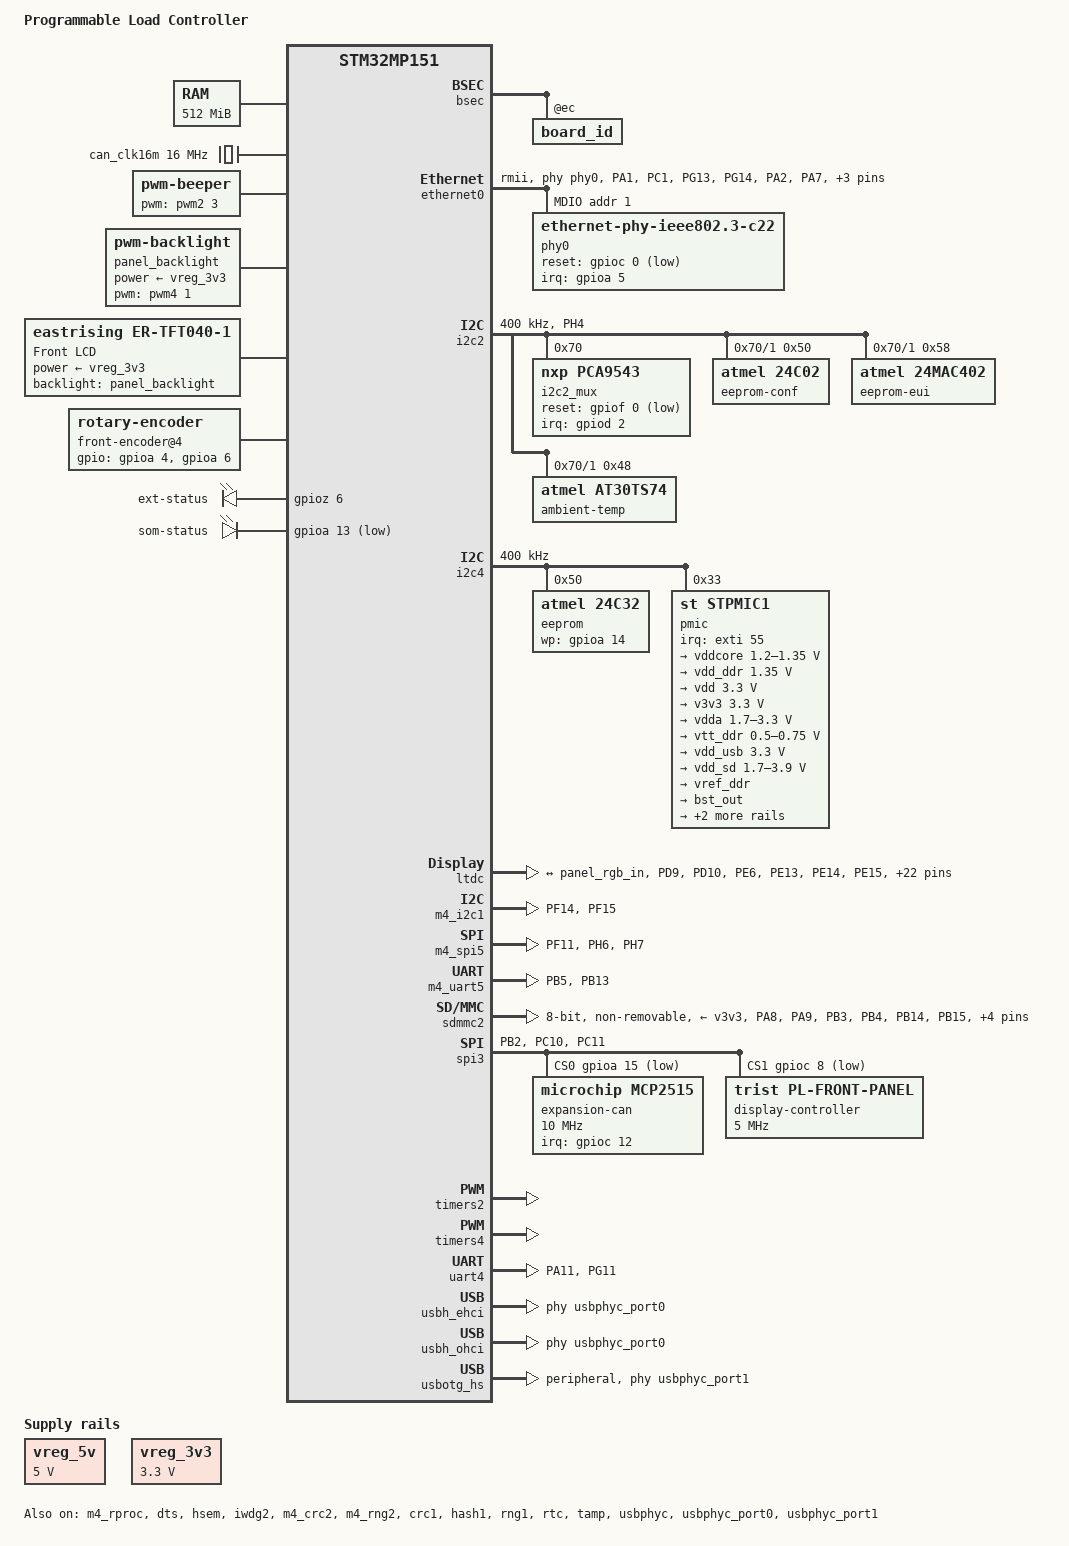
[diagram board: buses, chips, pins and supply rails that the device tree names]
/* SPDX-License-Identifier: (GPL-2.0+ OR BSD-3-Clause) */
/*
 * Copyright (C) STMicroelectronics 2022 - All Rights Reserved
 * Author: STM32CubeMX code generation for STMicroelectronics.
 */

/* For more information on Device Tree configuration, please refer to
 * https://wiki.st.com/stm32mpu/wiki/Category:Device_tree_configuration
 */

/dts-v1/;
#include <dt-bindings/pinctrl/stm32-pinfunc-2.h>

/* PLL output is enable when x=1, with x=p,q or r */
#define PQR(p, q, r)	(((p) & 1) | (((q) & 1) << 1) | (((r) & 1) << 2))


#include "stm32mp151.dtsi"
#include "stm32mp15xa.dtsi"
#include "stm32mp15xxac-pinctrl.dtsi"
#include "stm32mp15-m4-srm.dtsi"

/* USER CODE BEGIN includes */
#include <dt-bindings/mfd/st,stpmic1.h>
#include <dt-bindings/input/input.h>
#include <dt-bindings/gpio/gpio.h>
#include <dt-bindings/leds/common.h>
/* USER CODE END includes */

/ {
	model = "Programmable Load Controller";
	compatible = "st,stm32mp151a-programmable-load-myir-mx", "st,stm32mp151";

	memory@c0000000 {
		device_type = "memory";
		reg = <0xc0000000 0x20000000>;

		/* USER CODE BEGIN memory */
		/* USER CODE END memory */
	};

	reserved-memory {
		#address-cells = <1>;
		#size-cells = <1>;
		ranges;

		/* USER CODE BEGIN reserved-memory */
                /**
                 * There is a fair bit of SRAM inside the SoC, most of which is dedicated to the
                 * embedded firmware (M4 core) side. These memories are provided by the MCURAM
                 * and RETRAM peripherals as follows:
                 *
                 * |---------| Size | M4 Address | A7 Address |
                 * | MCURAM1 | 128K | 0x10000000 | 0x10000000 |
                 * | MCURAM2 | 128K | 0x10020000 | 0x10020000 |
                 * | MCURAM3 |  64K | 0x10040000 | 0x10040000 |
                 * | MCURAM4 |  64K | 0x10050000 | 0x10050000 |
                 * | RETRAM  |  64K | 0x00000000 | 0x38000000 |
                 *
                 * Most of this memory is dedicated to the embedded formware: MCURAM1/2 are used
                 * for the data segment/heap, MCURAM3 contains IPC buffers. RETRAM is reserved to
                 * hold the vector table and actual .text segment of the firmware.
                 *
                 * For the A7/Linux side, MCURAM4 is used for DMA chaining buffers.
                 */
                // these refer to the same memory region, just at two different addresses
                mcuram: mcuram@30000000 {
                    compatible = "shared-dma-pool";
                    reg = <0x30000000 0x40000>;
                    no-map;
                };
                mcuram2: mcuram2@10000000 {
                    compatible = "shared-dma-pool";
                    reg = <0x10000000 0x40000>;
                    no-map;
                };

                // define vdev0 memory (in MCURAM3) for IPC
                vdev0vring0: vdev0vring0@10040000 {
                    compatible = "shared-dma-pool";
                    reg = <0x10040000 0x1000>;
                    no-map;
                };

                vdev0vring1: vdev0vring1@10041000 {
                    compatible = "shared-dma-pool";
                    reg = <0x10041000 0x1000>;
                    no-map;
                };

                vdev0buffer: vdev0buffer@10042000 {
                    compatible = "shared-dma-pool";
                    reg = <0x10042000 0x8000>;
                    no-map;
                };

                // RETRAM - 64K, used for firmware code
                retram: retram@38000000 {
                    compatible = "shared-dma-pool";
                    reg = <0x38000000 0x10000>;
                    no-map;
                };
		/* USER CODE END reserved-memory */
	};

	/* USER CODE BEGIN root */
        // taken from MYiR SoM device tree (stm32mp15xx-ya15xc-t.dtsi)
        usb_phy_tuning: usb-phy-tuning {
            st,hs-dc-level = <2>;
            st,fs-rftime-tuning;
            st,hs-rftime-reduction;
            st,hs-current-trim = <15>;
            st,hs-impedance-trim = <1>;
            st,squelch-level = <3>;
            st,hs-rx-offset = <2>;
            st,no-lsfs-sc;
        };

        /* fixed 5V rail */
        vreg_5v: vreg-5v {/*: fixedregulator@0 { */
            compatible = "regulator-fixed";
            status = "okay";
            regulator-name ="fixed-5v";
            regulator-min-microvolt = <5000000>;
            regulator-max-microvolt = <5000000>;
            regulator-boot-on;
            regulator-always-on;
        };

        /* fixed 3V3 rail (switched on SoM rail) */
        vreg_3v3: vreg-3v3 {/*: fixedregulator@1 { */
            compatible = "regulator-fixed";
            status = "okay";
            regulator-name ="fixed-3v3";
            regulator-min-microvolt = <3300000>;
            regulator-max-microvolt = <3300000>;
            regulator-boot-on;
        };

        /* 16MHz crystal dedicated for CAN controller */
        can_clk16m: can-clk16m {
            compatible = "fixed-clock";
            status = "okay";
            #clock-cells = <0>;
            clock-frequency = <16000000>;
        };
	/* USER CODE END root */

	clocks {
		/* USER CODE BEGIN clocks */
		/* USER CODE END clocks */

#ifndef CONFIG_TFABOOT
		clk_lsi: clk-lsi {
			clock-frequency = <32000>;
		};
		clk_hsi: clk-hsi {
			clock-frequency = <64000000>;
		};
		clk_csi: clk-csi {
			clock-frequency = <4000000>;
		};
		clk_lse: clk-lse {
			clock-frequency = <32768>;
		};
		clk_hse: clk-hse {
			clock-frequency = <24000000>;
			st,css;
		};
#endif	/*CONFIG_TFABOOT*/
	};

}; /*root*/

&pinctrl {
	u-boot,dm-pre-reloc;

	eth1_pins_mx: eth1_mx-0 {
		pins1 {
			pinmux = <STM32_PINMUX('A', 1, AF0)>, /* ETH1_CLK */
					 <STM32_PINMUX('C', 1, AF11)>, /* ETH1_MDC */
					 <STM32_PINMUX('G', 13, AF11)>, /* ETH1_TXD0 */
					 <STM32_PINMUX('G', 14, AF11)>; /* ETH1_TXD1 */
			bias-disable;
			drive-push-pull;
			slew-rate = <1>;
		};
		pins2 {
			pinmux = <STM32_PINMUX('A', 2, AF11)>; /* ETH1_MDIO */
			bias-disable;
			drive-push-pull;
			slew-rate = <0>;
		};
		pins3 {
			pinmux = <STM32_PINMUX('A', 7, AF11)>, /* ETH1_CRS_DV */
					 <STM32_PINMUX('C', 4, AF11)>, /* ETH1_RXD0 */
					 <STM32_PINMUX('C', 5, AF11)>; /* ETH1_RXD1 */
			bias-disable;
		};
		pins4 {
			pinmux = <STM32_PINMUX('B', 11, AF11)>; /* ETH1_TX_EN */
		};
	};

	eth1_sleep_pins_mx: eth1_sleep_mx-0 {
		pins {
			pinmux = <STM32_PINMUX('A', 1, ANALOG)>, /* ETH1_CLK */
					 <STM32_PINMUX('A', 2, ANALOG)>, /* ETH1_MDIO */
					 <STM32_PINMUX('A', 7, ANALOG)>, /* ETH1_CRS_DV */
					 <STM32_PINMUX('B', 11, ANALOG)>, /* ETH1_TX_EN */
					 <STM32_PINMUX('C', 1, ANALOG)>, /* ETH1_MDC */
					 <STM32_PINMUX('C', 4, ANALOG)>, /* ETH1_RXD0 */
					 <STM32_PINMUX('C', 5, ANALOG)>, /* ETH1_RXD1 */
					 <STM32_PINMUX('G', 13, ANALOG)>, /* ETH1_TXD0 */
					 <STM32_PINMUX('G', 14, ANALOG)>; /* ETH1_TXD1 */
		};
	};

	i2c2_pins_mx: i2c2_mx-0 {
		pins {
			pinmux = <STM32_PINMUX('H', 4, AF4)>; /* I2C2_SCL */
			bias-disable;
			drive-open-drain;
			slew-rate = <0>;
		};
	};

	i2c2_sleep_pins_mx: i2c2_sleep_mx-0 {
		pins {
			pinmux = <STM32_PINMUX('H', 4, ANALOG)>; /* I2C2_SCL */
		};
	};

	ltdc_pins_mx: ltdc_mx-0 {
		pins1 {
			pinmux = <STM32_PINMUX('D', 9, AF14)>, /* LTDC_B0 */
					 <STM32_PINMUX('D', 10, AF14)>, /* LTDC_B3 */
					 <STM32_PINMUX('E', 6, AF14)>, /* LTDC_G1 */
					 <STM32_PINMUX('E', 13, AF14)>, /* LTDC_DE */
					 <STM32_PINMUX('E', 14, AF13)>, /* LTDC_G0 */
					 <STM32_PINMUX('E', 15, AF14)>, /* LTDC_R7 */
					 <STM32_PINMUX('G', 10, AF14)>, /* LTDC_B2 */
					 <STM32_PINMUX('G', 12, AF14)>, /* LTDC_B1 */
					 <STM32_PINMUX('H', 2, AF14)>, /* LTDC_R0 */
					 <STM32_PINMUX('H', 3, AF14)>, /* LTDC_R1 */
					 <STM32_PINMUX('H', 8, AF14)>, /* LTDC_R2 */
					 <STM32_PINMUX('H', 9, AF14)>, /* LTDC_R3 */
					 <STM32_PINMUX('H', 10, AF14)>, /* LTDC_R4 */
					 <STM32_PINMUX('H', 11, AF14)>, /* LTDC_R5 */
					 <STM32_PINMUX('H', 12, AF14)>, /* LTDC_R6 */
					 <STM32_PINMUX('H', 13, AF14)>, /* LTDC_G2 */
					 <STM32_PINMUX('H', 14, AF14)>, /* LTDC_G3 */
					 <STM32_PINMUX('H', 15, AF14)>, /* LTDC_G4 */
					 <STM32_PINMUX('I', 0, AF14)>, /* LTDC_G5 */
					 <STM32_PINMUX('I', 1, AF14)>, /* LTDC_G6 */
					 <STM32_PINMUX('I', 2, AF14)>, /* LTDC_G7 */
					 <STM32_PINMUX('I', 4, AF14)>, /* LTDC_B4 */
					 <STM32_PINMUX('I', 5, AF14)>, /* LTDC_B5 */
					 <STM32_PINMUX('I', 6, AF14)>, /* LTDC_B6 */
					 <STM32_PINMUX('I', 7, AF14)>, /* LTDC_B7 */
					 <STM32_PINMUX('I', 9, AF14)>, /* LTDC_VSYNC */
					 <STM32_PINMUX('I', 10, AF14)>; /* LTDC_HSYNC */
			bias-disable;
			drive-push-pull;
			slew-rate = <0>;
		};
		pins2 {
			pinmux = <STM32_PINMUX('G', 7, AF14)>; /* LTDC_CLK */
			bias-disable;
			drive-push-pull;
			slew-rate = <1>;
		};
	};

	ltdc_sleep_pins_mx: ltdc_sleep_mx-0 {
		pins {
			pinmux = <STM32_PINMUX('D', 9, ANALOG)>, /* LTDC_B0 */
					 <STM32_PINMUX('D', 10, ANALOG)>, /* LTDC_B3 */
					 <STM32_PINMUX('E', 6, ANALOG)>, /* LTDC_G1 */
					 <STM32_PINMUX('E', 13, ANALOG)>, /* LTDC_DE */
					 <STM32_PINMUX('E', 14, ANALOG)>, /* LTDC_G0 */
					 <STM32_PINMUX('E', 15, ANALOG)>, /* LTDC_R7 */
					 <STM32_PINMUX('G', 7, ANALOG)>, /* LTDC_CLK */
					 <STM32_PINMUX('G', 10, ANALOG)>, /* LTDC_B2 */
					 <STM32_PINMUX('G', 12, ANALOG)>, /* LTDC_B1 */
					 <STM32_PINMUX('H', 2, ANALOG)>, /* LTDC_R0 */
					 <STM32_PINMUX('H', 3, ANALOG)>, /* LTDC_R1 */
					 <STM32_PINMUX('H', 8, ANALOG)>, /* LTDC_R2 */
					 <STM32_PINMUX('H', 9, ANALOG)>, /* LTDC_R3 */
					 <STM32_PINMUX('H', 10, ANALOG)>, /* LTDC_R4 */
					 <STM32_PINMUX('H', 11, ANALOG)>, /* LTDC_R5 */
					 <STM32_PINMUX('H', 12, ANALOG)>, /* LTDC_R6 */
					 <STM32_PINMUX('H', 13, ANALOG)>, /* LTDC_G2 */
					 <STM32_PINMUX('H', 14, ANALOG)>, /* LTDC_G3 */
					 <STM32_PINMUX('H', 15, ANALOG)>, /* LTDC_G4 */
					 <STM32_PINMUX('I', 0, ANALOG)>, /* LTDC_G5 */
					 <STM32_PINMUX('I', 1, ANALOG)>, /* LTDC_G6 */
					 <STM32_PINMUX('I', 2, ANALOG)>, /* LTDC_G7 */
					 <STM32_PINMUX('I', 4, ANALOG)>, /* LTDC_B4 */
					 <STM32_PINMUX('I', 5, ANALOG)>, /* LTDC_B5 */
					 <STM32_PINMUX('I', 6, ANALOG)>, /* LTDC_B6 */
					 <STM32_PINMUX('I', 7, ANALOG)>, /* LTDC_B7 */
					 <STM32_PINMUX('I', 9, ANALOG)>, /* LTDC_VSYNC */
					 <STM32_PINMUX('I', 10, ANALOG)>; /* LTDC_HSYNC */
		};
	};

	m4_i2c1_pins_mx: m4_i2c1_mx-0 {
		pins {
			pinmux = <STM32_PINMUX('F', 14, RSVD)>, /* I2C1_SCL */
					 <STM32_PINMUX('F', 15, RSVD)>; /* I2C1_SDA */
		};
	};

	m4_spi5_pins_mx: m4_spi5_mx-0 {
		pins {
			pinmux = <STM32_PINMUX('F', 11, RSVD)>, /* SPI5_MOSI */
					 <STM32_PINMUX('H', 6, RSVD)>, /* SPI5_SCK */
					 <STM32_PINMUX('H', 7, RSVD)>; /* SPI5_MISO */
		};
	};

	m4_uart5_pins_mx: m4_uart5_mx-0 {
		pins {
			pinmux = <STM32_PINMUX('B', 5, RSVD)>, /* UART5_RX */
					 <STM32_PINMUX('B', 13, RSVD)>; /* UART5_TX */
		};
	};

	sdmmc2_pins_mx: sdmmc2_mx-0 {
		u-boot,dm-pre-reloc;
		pins1 {
			u-boot,dm-pre-reloc;
			pinmux = <STM32_PINMUX('A', 8, AF9)>, /* SDMMC2_D4 */
					 <STM32_PINMUX('A', 9, AF10)>, /* SDMMC2_D5 */
					 <STM32_PINMUX('B', 3, AF9)>, /* SDMMC2_D2 */
					 <STM32_PINMUX('B', 4, AF9)>, /* SDMMC2_D3 */
					 <STM32_PINMUX('B', 14, AF9)>, /* SDMMC2_D0 */
					 <STM32_PINMUX('B', 15, AF9)>, /* SDMMC2_D1 */
					 <STM32_PINMUX('D', 3, AF9)>, /* SDMMC2_D7 */
					 <STM32_PINMUX('E', 5, AF9)>, /* SDMMC2_D6 */
					 <STM32_PINMUX('G', 6, AF10)>; /* SDMMC2_CMD */
			//bias-disable;
                        bias-pull-up;
			drive-push-pull;
			slew-rate = <1>;
		};
		pins2 {
			u-boot,dm-pre-reloc;
			pinmux = <STM32_PINMUX('E', 3, AF9)>; /* SDMMC2_CK */
			// bias-disable;
                        bias-pull-up;
			drive-push-pull;
			slew-rate = <3>;
		};
	};

	sdmmc2_opendrain_pins_mx: sdmmc2_opendrain_mx-0 {
		u-boot,dm-pre-reloc;
		pins1 {
			u-boot,dm-pre-reloc;
			pinmux = <STM32_PINMUX('A', 8, AF9)>, /* SDMMC2_D4 */
					 <STM32_PINMUX('A', 9, AF10)>, /* SDMMC2_D5 */
					 <STM32_PINMUX('B', 3, AF9)>, /* SDMMC2_D2 */
					 <STM32_PINMUX('B', 4, AF9)>, /* SDMMC2_D3 */
					 <STM32_PINMUX('B', 14, AF9)>, /* SDMMC2_D0 */
					 <STM32_PINMUX('B', 15, AF9)>, /* SDMMC2_D1 */
					 <STM32_PINMUX('D', 3, AF9)>, /* SDMMC2_D7 */
					 <STM32_PINMUX('E', 5, AF9)>; /* SDMMC2_D6 */
			//bias-disable;
                        bias-pull-up;
			drive-push-pull;
			slew-rate = <1>;
		};
		pins2 {
			u-boot,dm-pre-reloc;
			pinmux = <STM32_PINMUX('E', 3, AF9)>; /* SDMMC2_CK */
			//bias-disable;
                        bias-pull-up;
			drive-push-pull;
			slew-rate = <3>;
		};
		pins3 {
			u-boot,dm-pre-reloc;
			pinmux = <STM32_PINMUX('G', 6, AF10)>; /* SDMMC2_CMD */
			//bias-disable;
                        bias-pull-up;
			drive-open-drain;
			slew-rate = <1>;
		};
	};

	sdmmc2_sleep_pins_mx: sdmmc2_sleep_mx-0 {
		u-boot,dm-pre-reloc;
		pins {
			u-boot,dm-pre-reloc;
			pinmux = <STM32_PINMUX('A', 8, ANALOG)>, /* SDMMC2_D4 */
					 <STM32_PINMUX('A', 9, ANALOG)>, /* SDMMC2_D5 */
					 <STM32_PINMUX('B', 3, ANALOG)>, /* SDMMC2_D2 */
					 <STM32_PINMUX('B', 4, ANALOG)>, /* SDMMC2_D3 */
					 <STM32_PINMUX('B', 14, ANALOG)>, /* SDMMC2_D0 */
					 <STM32_PINMUX('B', 15, ANALOG)>, /* SDMMC2_D1 */
					 <STM32_PINMUX('D', 3, ANALOG)>, /* SDMMC2_D7 */
					 <STM32_PINMUX('E', 3, ANALOG)>, /* SDMMC2_CK */
					 <STM32_PINMUX('E', 5, ANALOG)>, /* SDMMC2_D6 */
					 <STM32_PINMUX('G', 6, ANALOG)>; /* SDMMC2_CMD */
		};
	};

	spi3_pins_mx: spi3_mx-0 {
		pins {
			pinmux = <STM32_PINMUX('B', 2, AF7)>, /* SPI3_MOSI */
					 <STM32_PINMUX('C', 10, AF6)>, /* SPI3_SCK */
					 <STM32_PINMUX('C', 11, AF6)>; /* SPI3_MISO */
			bias-disable;
			drive-push-pull;
			slew-rate = <1>;
		};
	};

	spi3_sleep_pins_mx: spi3_sleep_mx-0 {
		pins {
			pinmux = <STM32_PINMUX('B', 2, ANALOG)>, /* SPI3_MOSI */
					 <STM32_PINMUX('C', 10, ANALOG)>, /* SPI3_SCK */
					 <STM32_PINMUX('C', 11, ANALOG)>; /* SPI3_MISO */
		};
	};

	tim2_pwm_pins_mx: tim2_pwm_mx-0 {
		pins {
			pinmux = <STM32_PINMUX('A', 3, AF1)>; /* TIM2_CH4 */
			bias-disable;
			drive-push-pull;
			slew-rate = <0>;
		};
	};

	tim2_pwm_sleep_pins_mx: tim2_pwm_sleep_mx-0 {
		pins {
			pinmux = <STM32_PINMUX('A', 3, ANALOG)>; /* TIM2_CH4 */
		};
	};

	tim4_pwm_pins_mx: tim4_pwm_mx-0 {
		pins {
			pinmux = <STM32_PINMUX('B', 7, AF2)>; /* TIM4_CH2 */
			bias-disable;
			drive-push-pull;
			slew-rate = <0>;
		};
	};

	tim4_pwm_sleep_pins_mx: tim4_pwm_sleep_mx-0 {
		pins {
			pinmux = <STM32_PINMUX('B', 7, ANALOG)>; /* TIM4_CH2 */
		};
	};

	uart4_pins_mx: uart4_mx-0 {
		u-boot,dm-pre-reloc;
		pins1 {
			u-boot,dm-pre-reloc;
			pinmux = <STM32_PINMUX('A', 11, AF6)>; /* UART4_RX */
			bias-disable;
		};
		pins2 {
			u-boot,dm-pre-reloc;
			pinmux = <STM32_PINMUX('G', 11, AF6)>; /* UART4_TX */
			bias-disable;
			drive-push-pull;
			slew-rate = <0>;
		};
	};

	uart4_sleep_pins_mx: uart4_sleep_mx-0 {
		u-boot,dm-pre-reloc;
		pins {
			u-boot,dm-pre-reloc;
			pinmux = <STM32_PINMUX('A', 11, ANALOG)>, /* UART4_RX */
					 <STM32_PINMUX('G', 11, ANALOG)>; /* UART4_TX */
		};
	};

	/* USER CODE BEGIN pinctrl */

	/* USER CODE END pinctrl */
};

&pinctrl_z {
	u-boot,dm-pre-reloc;

	i2c2_pins_z_mx: i2c2_mx-0 {
		pins {
			pinmux = <STM32_PINMUX('Z', 7, AF3)>; /* I2C2_SDA */
			bias-disable;
			drive-open-drain;
			slew-rate = <0>;
		};
	};

	i2c2_sleep_pins_z_mx: i2c2_sleep_mx-0 {
		pins {
			pinmux = <STM32_PINMUX('Z', 7, ANALOG)>; /* I2C2_SDA */
		};
	};

	i2c4_pins_z_mx: i2c4_mx-0 {
		pins {
			pinmux = <STM32_PINMUX('Z', 4, AF6)>, /* I2C4_SCL */
					 <STM32_PINMUX('Z', 5, AF6)>; /* I2C4_SDA */
			bias-disable;
			drive-open-drain;
			slew-rate = <0>;
		};
	};

	i2c4_sleep_pins_z_mx: i2c4_sleep_mx-0 {
		pins {
			pinmux = <STM32_PINMUX('Z', 4, ANALOG)>, /* I2C4_SCL */
					 <STM32_PINMUX('Z', 5, ANALOG)>; /* I2C4_SDA */
		};
	};

	/* USER CODE BEGIN pinctrl_z */

	/* USER CODE END pinctrl_z */
};

&m4_rproc{
	status = "okay";

	/* USER CODE BEGIN m4_rproc */
        // required memory regions: SRAMs for storing code/data; vdev buffers for IPC
        memory-region = <&retram>, <&mcuram>, <&mcuram2>, <&vdev0vring0>,
                        <&vdev0vring1>, <&vdev0buffer>;
        // mailbox channels exposed by the chip
        mboxes = <&ipcc 0>, <&ipcc 1>, <&ipcc 2>;
        mbox-names = "vq0", "vq1", "shutdown";

        // TODO: use appropriate constants for irq config?
        interrupt-parent = <&exti>;
        interrupts = <68 1>;
        wakeup-source;
	/* USER CODE END m4_rproc */

        // XXX: this isn't used with the non-ST distribution?
	m4_system_resources{
		status = "okay";

		/* USER CODE BEGIN m4_system_resources */
		/* USER CODE END m4_system_resources */
	};
};

&bsec{
	status = "okay";

	/* USER CODE BEGIN bsec */
	/* USER CODE END bsec */
};

// temp sensor
&dts {
    status = "okay";
};

&dma1{
	status = "okay";

	/* USER CODE BEGIN dma1 */
	/* USER CODE END dma1 */
};

// DMA2 is used by the cortex M4
&dma2{
	/* USER CODE BEGIN dma2 */
	/* USER CODE END dma2 */
};

&dmamux1{
	status = "okay";

	/* USER CODE BEGIN dmamux1 */
	/* USER CODE END dmamux1 */
};

&ethernet0{
	pinctrl-names = "default", "sleep";
	pinctrl-0 = <&eth1_pins_mx>;
	pinctrl-1 = <&eth1_sleep_pins_mx>;
	status = "okay";

	/* USER CODE BEGIN ethernet0 */
	/* USER CODE END ethernet0 */
};

&hsem{
	status = "okay";

	/* USER CODE BEGIN hsem */
	/* USER CODE END hsem */
};

&ipcc{
	status = "okay";

	/* USER CODE BEGIN ipcc */
	/* USER CODE END ipcc */
};

// watchdog (during boot)
&iwdg2 {
    u-boot,dm-pre-reloc;
    timeout-sec = <32>;
    status = "okay";
};

&i2c2{
	pinctrl-names = "default", "sleep";
	pinctrl-0 = <&i2c2_pins_mx &i2c2_pins_z_mx>;
	pinctrl-1 = <&i2c2_sleep_pins_mx &i2c2_sleep_pins_z_mx>;
	status = "okay";

	/* USER CODE BEGIN i2c2 */
	/* USER CODE END i2c2 */
};

&i2c4{
	pinctrl-names = "default", "sleep";
	pinctrl-0 = <&i2c4_pins_z_mx>;
	pinctrl-1 = <&i2c4_sleep_pins_z_mx>;
	status = "okay";

	/* USER CODE BEGIN i2c4 */
        i2c-scl-rising-time-ns = <185>;
        i2c-scl-falling-time-ns = <20>;
        clock-frequency = <400000>;
        secure-status = "okay";

        /delete-property/dmas;
        /delete-property/dma-names;

        /* eeprom (on MYiR SoM) */
        eeprom@50 {
            compatible = "atmel,24c32";
            reg = <0x50>;
            pagesize = <32>;
            wp-gpios = <&gpioa 14 0>;
            num-addresses = <8>;
        };

        pmic: stpmic@33 {
            compatible = "st,stpmic1";
            reg = <0x33>;

            // TODO: figure out what the proper external interrupt configuration is here
            // interrupts-extended = <&exti_pwr 55 IRQ_TYPE_EDGE_FALLING>;
            interrupts-extended = <&exti 55 IRQ_TYPE_EDGE_FALLING>;

            interrupt-controller;
            #interrupt-cells = <2>;
            status = "okay";

            watchdog {
                compatible = "st,stpmic1-wdt";
                status = "disabled";
            };

            onkey {
                compatible = "st,stpmic1-onkey";
                status = "disabled";
            };

            regulators {
                compatible = "st,stpmic1-regulators";
                buck1-supply = <&vreg_5v>;
                buck2-supply = <&vreg_5v>;
                buck3-supply = <&vreg_5v>;
                buck4-supply = <&vreg_5v>;
                ldo1-supply = <&v3v3>;
                ldo2-supply = <&vreg_5v>;
                ldo3-supply = <&vdd_ddr>;
                ldo4-supply = <&vreg_5v>;
                ldo5-supply = <&vreg_5v>;
                ldo6-supply = <&v3v3>;
                vref_ddr-supply = <&vreg_5v>;
                boost-supply = <&vreg_5v>;
                pwr_sw1-supply = <&bst_out>;
                pwr_sw2-supply = <&bst_out>;

                vddcore: buck1 {
                    regulator-name = "vddcore"; //to cpu
                    regulator-min-microvolt = <1200000>;
                    regulator-max-microvolt = <1350000>;
                    regulator-always-on;
                    regulator-initial-mode = <0>;
                    regulator-over-current-protection;
                };

                vdd_ddr: buck2 {
                    regulator-name = "vdd_ddr";//to ddr
                    regulator-min-microvolt = <1350000>;
                    regulator-max-microvolt = <1350000>;
                    regulator-always-on;
                    regulator-initial-mode = <0>;
                    regulator-over-current-protection;
                };

                vdd: buck3 {
                    regulator-name = "vdd";//to mmc
                    regulator-min-microvolt = <3300000>;
                    regulator-max-microvolt = <3300000>;
                    regulator-always-on;
                    st,mask-reset;
                    regulator-initial-mode = <0>;
                    regulator-over-current-protection;
                };

                v3v3: buck4 {
                    regulator-name = "v3v3";//to mmc
                    regulator-min-microvolt = <3300000>;
                    regulator-max-microvolt = <3300000>;
                    regulator-always-on;
                    regulator-over-current-protection;
                    regulator-initial-mode = <0>;
                };

                vdda: ldo1 {
                    regulator-name = "vdda";//to verf
                    regulator-min-microvolt = <1700000>;
                    regulator-max-microvolt = <3300000>;
                    regulator-always-on;
                };
/*
                vldo2: ldo2 {
                    regulator-name = "vldo2";
                    regulator-min-microvolt = <1700000>;
                    regulator-max-microvolt = <3300000>;
                    regulator-always-on;
                };
*/

                vtt_ddr: ldo3 {
                    regulator-name = "vtt_ddr";
                    regulator-min-microvolt = <500000>;
                    regulator-max-microvolt = <750000>;
                    regulator-always-on;
                    regulator-over-current-protection;
                };


                vdd_usb: ldo4 {
                    regulator-name = "vdd_usb";//to usb
                    regulator-min-microvolt = <3300000>;
                    regulator-max-microvolt = <3300000>;
                    regulator-always-on;
                };



                vdd_sd: ldo5 {
                    regulator-name = "vdd_sd";
                    regulator-min-microvolt = <1700000>;
                    regulator-max-microvolt = <3900000>;
                    regulator-boot-on;
                };
/*
                vldo6: ldo6 {
                    regulator-name = "vldo6";
                    regulator-min-microvolt = <900000>;
                    regulator-max-microvolt = <3300000>;
                    regulator-always-on;
                    standby-ddr-sr {
                        regulator-off-in-suspend;
                    };
                    standby-ddr-off {
                        regulator-off-in-suspend;
                    };
                };
*/
                vref_ddr: vref_ddr {
                    regulator-name = "vref_ddr";
                    regulator-always-on;
                    regulator-over-current-protection;
                };

                bst_out: boost {
                    regulator-name = "bst_out";
                };

                vbus_otg: pwr_sw1 {
                    regulator-name = "vbus_otg";
                };

                vbus_sw: pwr_sw2 {
                    regulator-name = "vbus_sw";
                    regulator-active-discharge = <1>;
                };
            };
    };
    /* USER CODE END i2c4 */
};

&ltdc{
	pinctrl-names = "default", "sleep";
	pinctrl-0 = <&ltdc_pins_mx>;
	pinctrl-1 = <&ltdc_sleep_pins_mx>;
	status = "okay";

	/* USER CODE BEGIN ltdc */
        /* configure the RGB output port */
        port {
            #address-cells = <1>;
            #size-cells = <0>;

            /* XXX: Maybe it is ep0 and reg = 0 instead? */
            ltdc_ep0_out: endpoint@0 {
                reg = <0>;
                remote-endpoint = <&panel_rgb_in>;
            };
        };
	/* USER CODE END ltdc */
};

&m4_crc2{
	status = "okay";

	/* USER CODE BEGIN m4_crc2 */
	/* USER CODE END m4_crc2 */
};

&m4_dma2{
	status = "okay";

	/* USER CODE BEGIN m4_dma2 */
	/* USER CODE END m4_dma2 */
};

&m4_i2c1{
	pinctrl-names = "default";
	pinctrl-0 = <&m4_i2c1_pins_mx>;
	status = "okay";

	/* USER CODE BEGIN m4_i2c1 */
	/* USER CODE END m4_i2c1 */
};

&m4_rng2{
	status = "okay";

	/* USER CODE BEGIN m4_rng2 */
	/* USER CODE END m4_rng2 */
};

&m4_spi5{
	pinctrl-names = "default";
	pinctrl-0 = <&m4_spi5_pins_mx>;
	status = "okay";

	/* USER CODE BEGIN m4_spi5 */
	/* USER CODE END m4_spi5 */
};

&m4_uart5{
	pinctrl-names = "default";
	pinctrl-0 = <&m4_uart5_pins_mx>;
	status = "okay";

	/* USER CODE BEGIN m4_uart5 */
	/* USER CODE END m4_uart5 */
};

&mdma1{
	status = "okay";

	/* USER CODE BEGIN mdma1 */
	/* USER CODE END mdma1 */
};

&rcc{
	u-boot,dm-pre-reloc;
	status = "okay";

	/* USER CODE BEGIN rcc */
	pll2:st,pll@1 {
		compatible = "st,stm32mp1-pll";
		reg = <1>;
		cfg = < 2 65 1 1 0 PQR(1,1,1) >;
		frac = < 0x1400 >;
		u-boot,dm-pre-reloc;
                u-boot,dm-spl;
	};
	pll3:st,pll@2 {
		compatible = "st,stm32mp1-pll";
		reg = <2>;
		cfg = < 1 51 2 5 3 PQR(1,1,1) >;
		frac = < 0x800 >;
		u-boot,dm-pre-reloc;
                u-boot,dm-spl;
	};
	pll4:st,pll@3 {
		compatible = "st,stm32mp1-pll";
		reg = <3>;
		cfg = < 1 49 11 23 14 PQR(1,1,1) >;
		u-boot,dm-pre-reloc;
                u-boot,dm-spl;
	};

	/* USER CODE END rcc */
};

&crc1 {
	status = "okay";
};

&hash1 {
	status = "okay";
};

&rng1{
	status = "okay";

	/* USER CODE BEGIN rng1 */
	/* USER CODE END rng1 */
};

&rtc{
	status = "okay";

	/* USER CODE BEGIN rtc */
	/* USER CODE END rtc */
};

&sdmmc2{
    status = "okay";
    // pin config from stmcubemx
    pinctrl-names = "default", "opendrain", "sleep";
    pinctrl-0 = <&sdmmc2_pins_mx>;
    pinctrl-1 = <&sdmmc2_opendrain_pins_mx>;
    pinctrl-2 = <&sdmmc2_sleep_pins_mx>;

    /* USER CODE BEGIN sdmmc2 */
    /* define it as non-removable eMMC flash */
    non-removable;
    no-sd;
    no-sdio;
    /* polarity of clock and data bus width */
    st,neg-edge;
    bus-width = <8>;
    /* supplies */
    vmmc-supply = <&v3v3>;
    vqmmc-supply = <&vdd>;
    no-1-8-v;
    mmc-ddr-3_3v;
    /* USER CODE END sdmmc2 */
};

&spi3{
	pinctrl-names = "default", "sleep";
	pinctrl-0 = <&spi3_pins_mx>;
	pinctrl-1 = <&spi3_sleep_pins_mx>;
	status = "okay";

	/* USER CODE BEGIN spi3 */
	/* USER CODE END spi3 */
};

&tamp{
	status = "okay";

	/* USER CODE BEGIN tamp */
        // how we reboot is specified by a boot/tamper register
        reboot-mode {
            compatible = "syscon-reboot-mode";
            offset = <0x150>; /* reg20 */
            mask = <0xff>;
            mode-normal = <0>;
            mode-fastboot = <0x1>;
            mode-recovery = <0x2>;
            mode-stm32cubeprogrammer = <0x3>;
            mode-ums_mmc0 = <0x10>;
            mode-ums_mmc1 = <0x11>;
            mode-ums_mmc2 = <0x12>;
        };
	/* USER CODE END tamp */
};

&timers2{
	status = "okay";

	/* USER CODE BEGIN timers2 */
        /* PWM mode doesn't require DMA */
	/delete-property/dmas;
	/delete-property/dma-names;

        /* XXX: the following pwm name may not stick on regeneration (pwm2) */
	/* USER CODE END timers2 */

	pwm2: pwm{
		pinctrl-names = "default", "sleep";
		pinctrl-0 = <&tim2_pwm_pins_mx>;
		pinctrl-1 = <&tim2_pwm_sleep_pins_mx>;
		status = "okay";

		/* USER CODE BEGIN timers2_pwm */
		/* USER CODE END timers2_pwm */
	};
};

&timers4{
	status = "okay";

	/* USER CODE BEGIN timers4 */
        /* PWM mode doesn't require DMA */
	/delete-property/dmas;
	/delete-property/dma-names;

        /* XXX: the following pwm name may not stick on regeneration (pwm4) */
	/* USER CODE END timers4 */

	pwm4: pwm{
		pinctrl-names = "default", "sleep";
		pinctrl-0 = <&tim4_pwm_pins_mx>;
		pinctrl-1 = <&tim4_pwm_sleep_pins_mx>;
		status = "okay";

		/* USER CODE BEGIN timers4_pwm */
		/* USER CODE END timers4_pwm */
	};
};

&uart4{
	u-boot,dm-pre-reloc;
	pinctrl-names = "default", "sleep";
	pinctrl-0 = <&uart4_pins_mx>;
	pinctrl-1 = <&uart4_sleep_pins_mx>;
	status = "okay";

	/* USER CODE BEGIN uart4 */
	/* USER CODE END uart4 */
};

&usbh_ehci{
	status = "okay";

	/* USER CODE BEGIN usbh_ehci */
        phys = <&usbphyc_port0>;
        phy-names = "usb";
	/* USER CODE END usbh_ehci */
};

&usbh_ohci{
	status = "okay";

	// USER CODE BEGIN usbh_ohci
        phys = <&usbphyc_port0>;
        phy-names = "usb";
	// USER CODE END usbh_ohci
};

&usbotg_hs{
	u-boot,dm-pre-reloc;
	status = "okay";

	/* USER CODE BEGIN usbotg_hs */
        // set the PHY to use
        phys = <&usbphyc_port1 0>;
        phy-names = "usb2-phy";
        /* force always into device mode */
        dr_mode = "peripheral";
        usb-role-switch;
        role-switch-default-mode = "peripheral";
	/* USER CODE END usbotg_hs */
};

&usbphyc{
	u-boot,dm-pre-reloc;
	status = "okay";

	/* USER CODE BEGIN usbphyc */
	/* USER CODE END usbphyc */
};

&usbphyc_port0{
	u-boot,dm-pre-reloc;
	status = "okay";

	/* USER CODE BEGIN usbphyc_port0 */
        phy-supply = <&vdd_usb>;
        st,phy-tuning = <&usb_phy_tuning>;
	/* USER CODE END usbphyc_port0 */
};

&usbphyc_port1{
	u-boot,dm-pre-reloc;
	status = "okay";

	/* USER CODE BEGIN usbphyc_port1 */
        phy-supply = <&vdd_usb>;
        st,phy-tuning = <&usb_phy_tuning>;
	/* USER CODE END usbphyc_port1 */
};

/* USER CODE BEGIN addons */
/ {
    aliases {
        ethernet0 = &ethernet0;
        serial0 = &uart4;
    };

    // put serial console on UART4 (TTY1 on pin header)
    chosen {
        stdout-path = "serial0:115200n8";
    };

    /* magnetic transducer (beeper) on main board */
    beeper {
        compatible = "pwm-beeper";
        // Ch4 pwm out
        pwms = <&pwm2 3 800000 0>;
    };

    // front panel LCD backlight
    panel_backlight: panel-backlight {
        compatible = "pwm-backlight";
        status = "okay";
        // period (ns) and inverted (no)
        pwms = <&pwm4 1 250000 0>;

        // TODO: these need tuning, likely
        brightness-levels = <0 2 4 8 16 32 64 128 192 224 255>;
        default-brightness-level = <9>;

        power-supply = <&vreg_3v3>;
    };

    /* front LCD panel */
    front_lcd: panel {
        status = "okay";
        compatible = "eastrising,er-tft040-1", "simple-panel";
        label = "Front LCD";

        // rotate lcd
        rotation = <270>;

        /* associated backlight device (PWM driver) */
        backlight = <&panel_backlight>;

        /* reset signal on front panel GPIO expander */
        /* do not use, as we configure the controller ourselves from userspace (?) */
        /* reset-gpios = <&front_gpio 8 GPIO_ACTIVE_LOW>; */

        /* provide some always on regulators as voltage sources */
        power-supply = <&vreg_3v3>;

        /* video data source: LTDC RGB interface */
        port {
            panel_rgb_in: endpoint {
                remote_endpoint = <&ltdc_ep0_out>;
            };
        };
    };

    // front panel rotary encoder
    front-encoder@4 {
        compatible = "rotary-encoder";
        status = "okay";

        linux,axis = <0>; // REL_X

        // set up the GPIOs
        //pinctrl-names = "default";
        //pinctrl-0 = <&front_encoder_pins>;

        // specify GPIOs connected to encoder ("A" and "B" lines)
        gpios = <&gpioa 4 0>, <&gpioa 6 0>;

        // specify encoder config
        rotary-encoder,encoding = "gray"; // gray code
        rotary-encoder,steps = <24>; // steps per rotation
        rotary-encoder,steps-per-period = <1>; // full period mode
    };

    // LEDs connected to GPIOs
    statusleds {
        compatible = "gpio-leds";
        status = "okay";

        // bi-color on-board A7 status LED
        ext-status {
            // label = "Status Bicolor";
            gpios = <&gpioz 6 GPIO_ACTIVE_HIGH>;
            linux,default-trigger = "activity";
        };
        // SoM status LED
        som-status {
            // label = "SoM Status";
            gpios = <&gpioa 13 GPIO_ACTIVE_LOW>;

            // treat this LED as a heartbeat
            linux,default-trigger = "heartbeat";
        };
    };
};

/* fuse controller */
&bsec {
    /* specify the board ID fuse */
    board_id: board_id@ec {
        reg = <0xec 0x4>;
        st,non-secure-otp;
    };
};

/* enable bypass mode for external clock */
&clk_hse {
    st,digbypass;
};

/* CPU power supply (for voltage scaling (?)) */
&cpu0 {
    cpu-supply = <&vddcore>;
};


/* on-board I2C bus devices */
&i2c2 {
    /* run at 400kHz */
    clock-frequency = <400000>;

    /* define the bus mux */
    i2c2_mux: i2c-switch@70 {
        compatible = "nxp,pca9543";
        #address-cells = <1>;
        #size-cells = <0>;
        /* bus address */
        reg = <0x70>;

        /* define the mux irq: from EXTI (PD2) */
        /* TODO: is this right? */
        interrupt-parent = <&gpiod>;
        interrupts = <2 IRQ_TYPE_EDGE_FALLING>;
        interrupt-controller;
        #interrupt-cells = <2>;

        /* line connected to reset */
        reset-gpios = <&gpiof 0 (GPIO_ACTIVE_LOW | GPIO_PULL_UP)>;

        // front panel bus
        i2c@0 {
            #address-cells = <1>;
            #size-cells = <0>;
            reg = <0>;

            /*
            // identification ROM (read/write part of 24CS32; behaves like regular EEPROM)
            eeprom-conf@50 {
                compatible = "atmel,24c32";
                pagesize = <16>;

                // the address specified is for the user data part
                reg = <0x50>;
                #address-cells = <1>;
                #size-cells = <1>;
            };

            // serial number ROM (read-only part of 24CS32)
            eeprom-serial@58 {
                compatible = "atmel,24cs32";
                read-only;
                pagesize = <16>;

                // the address specified is for the serial number part
                reg = <0x58>;
                #address-cells = <1>;
                #size-cells = <1>;

                // fixed system serial number
                system_serial: serno@0 {
                    reg = <0x0 0x10>;
                };
            };

            // GPIO expander
            front_gpio: gpio-expander@27 {
                compatible = "nxp,pca9535";
                gpio-controller;
                // TODO: figure out proper address
                reg = <0x27>;
                #gpio-cells = <2>;


                //pinctrl-names = "default";
                //pinctrl-0 = <&pinctrl_pca9535>;

                // name the IOs (from 0 to 15)
                gpio-line-names = "ModeCC", "InputEnable", "EncoderSw", "ModeCW",
                    "ModeCV", "ModeExt", "Menu", "LedDriverOe", "DisplayReset", "", "", "", "", "",
                    "TouchIrq", "TouchReset";

                // irq line is hooked up through mux
                // TODO: is this right?
                interrupt-parent = <&i2c_mux>;
                interrupts = <0 IRQ_TYPE_EDGE_FALLING>;
                interrupt-controller;
                #interrupt-cells = <2>;
            };

            // TODO: LED driver

            // TODO: touch panel
            */
        };

        /* on-board control bus */
        i2c@1 {
            #address-cells = <1>;
            #size-cells = <0>;
            reg = <1>;

            // configuration ROM (read/write part of 24MAC402; behaves like regular EEPROM)
            eeprom-conf@50 {
                compatible = "atmel,24c02";
                pagesize = <16>;

                // the address specified is for the user data part
                reg = <0x50>;
                #address-cells = <1>;
                #size-cells = <1>;
            };

            // MAC address ROM (read-only part of 24MAC402)
            eeprom-eui@58 {
                compatible = "atmel,24mac402";
                read-only;
                pagesize = <16>;

                // the address specified is for the serial number part
                reg = <0x58>;
                #address-cells = <1>;
                #size-cells = <1>;

                // define the MAC address
                eth0_addr: eth-mac-addr@9A {
                    reg = <0x0 0x06>;
                };
            };

            // ambient temp sensor
            ambient-temp@48 {
                compatible = "atmel,at30ts74";
                reg = <0x48>;
            };

            // TODO: fan controller
        };
    };
};

/* on-board SPI (through mux) */
&spi3{
    /* specify chip selects: 0 = PA15, 1 = PC8 */
    num-cs = <2>;
    cs-gpios = <&gpioa 15 GPIO_ACTIVE_LOW>, <&gpioc 8 GPIO_ACTIVE_LOW>;

    /* CAN controller */
    expansion-can@0 {
        // chip select 0
        reg = <0>;
        spi-max-frequency = <10000000>;

        // CAN controller
        compatible = "microchip,mcp2515";

        // define the clock (16MHz) feeding the controller
        clocks = <&can_clk16m>;

        // interrupt line (exclusive to CAN controller)
        // TODO: verify this
        interrupt-parent = <&gpioc>;
        interrupts = <12 IRQ_TYPE_EDGE_FALLING>;
    };

    /* front panel display controller */
    display-controller@1 {
        // chip select 1
        reg = <1>;
        spi-max-frequency = <5000000>;

        // this depends on our modifications to the spi driver to add the compatible string
        compatible =  "trist,pl-front-panel";
    };
};

/* configure Ethernet peripheral */
&ethernet0{
    // MAC address is stored in EEPROM
    nvmem-cells = <&eth0_addr>;
    nvmem-cell-names = "mac-address";

    // 50MHz clock output to PHY
    st,ext-phyclk;

    // define how the PHY is connected
    phy-mode = "rmii";
    max-speed = <100>;
    phy-handle = <&phy0>;

    // configure the PHY
    mdio0 {
        compatible = "snps,dwmac-mdio";
        #address-cells = <1>;
        #size-cells = <0>;

        // TODO: is this declared right?
        phy0: ethernet-phy@0 {
            // compatible = "ethernet-phy-id0007.c0f0", "ethernet-phy-ieee802.3-c22";
            compatible = "ethernet-phy-ieee802.3-c22";

            reg = <1>;

            // reset GPIPO
            reset-gpios = <&gpioc 0 (GPIO_ACTIVE_LOW | GPIO_PULL_UP)>;
            reset-assert-us = <5000>;
            reset-deassert-us = <10000>;

            // PHY interrupt line
            interrupt-parent = <&gpioa>;
            interrupts = <5 IRQ_TYPE_EDGE_FALLING>;
        };
    };
};

// define power regulator modes
&pwr_regulators {
    vdd-supply = <&vdd>;
    // XXX: is this for the USB PHYs?
    // vdd_3v3_usbfs-supply = <&vdd_usb>;
};


/* USER CODE END addons */

